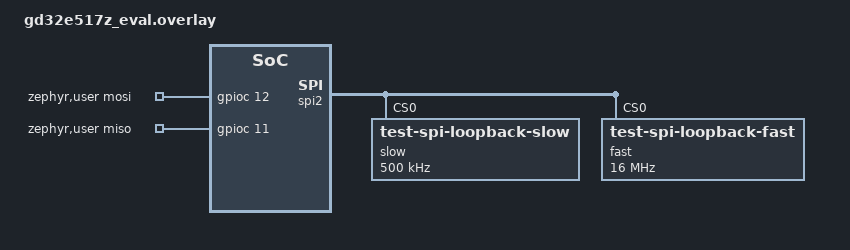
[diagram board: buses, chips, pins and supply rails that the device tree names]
/*
 * Copyright (c) 2026 GigaDevice Semiconductor Inc.
 *
 * SPDX-License-Identifier: Apache-2.0
 */

/ {
	zephyr,user {
		/* PC12 (MOSI) is shorted to PC11 (MISO) for the deinit test. */
		mosi-gpios = <&gpioc 12 GPIO_ACTIVE_HIGH>;
		miso-gpios = <&gpioc 11 GPIO_ACTIVE_HIGH>;
	};
};

&spi2 {
	status = "okay";

	slow@0 {
		compatible = "test-spi-loopback-slow";
		reg = <0>;
		spi-max-frequency = <500000>;
	};

	fast@0 {
		compatible = "test-spi-loopback-fast";
		reg = <0>;
		spi-max-frequency = <16000000>;
	};
};
